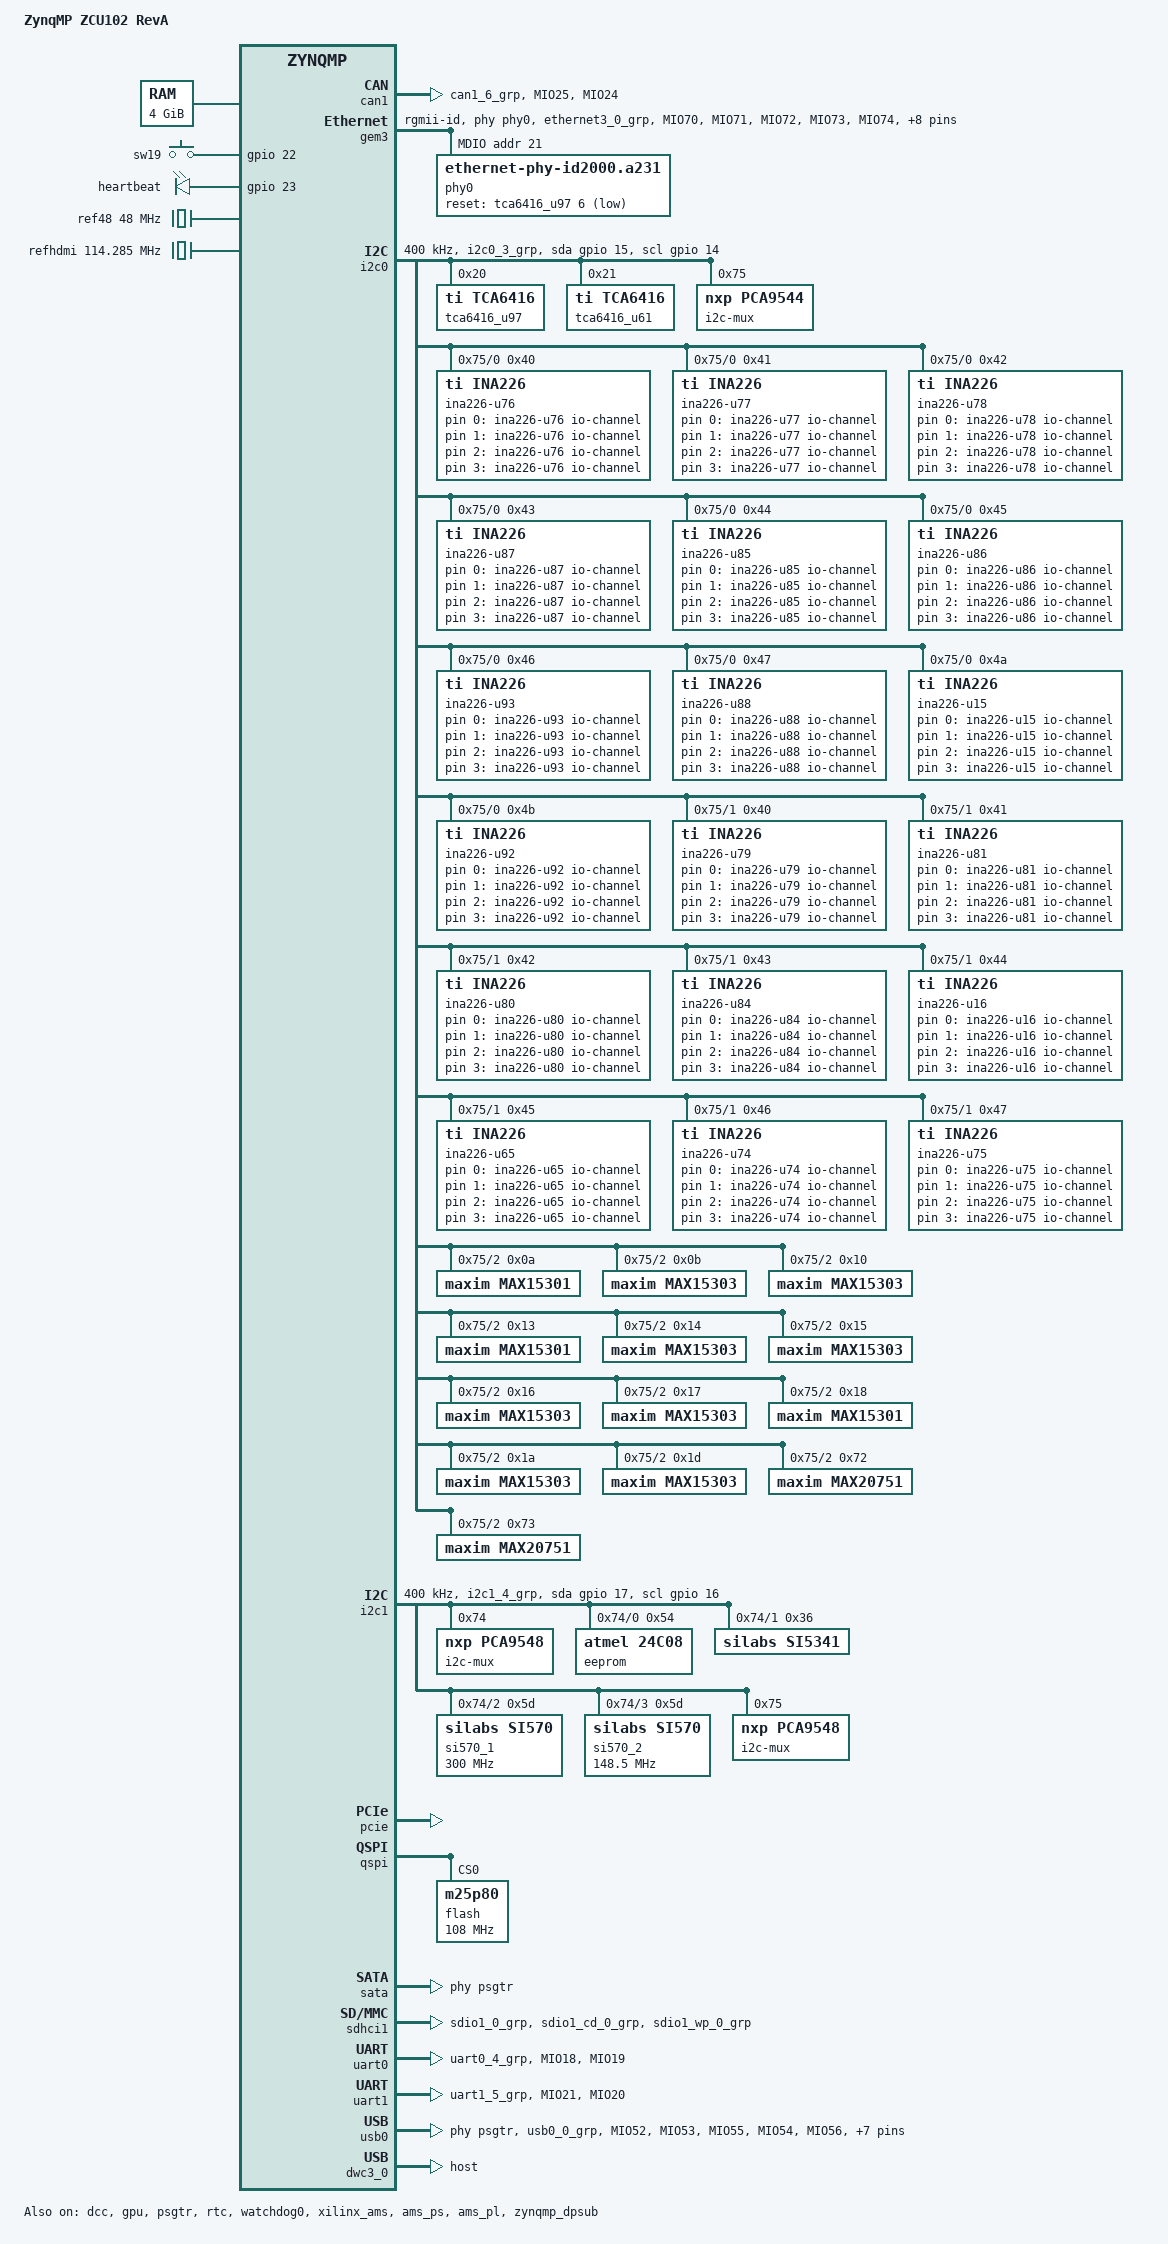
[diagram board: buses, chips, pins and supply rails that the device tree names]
// SPDX-License-Identifier: GPL-2.0+
/*
 * dts file for Xilinx ZynqMP ZCU102 RevA
 *
 * (C) Copyright 2015 - 2022, Xilinx, Inc.
 * (C) Copyright 2022 - 2023, Advanced Micro Devices, Inc.
 *
 * Michal Simek <michal.simek@amd.com>
 */

/dts-v1/;

#include "zynqmp.dtsi"
#include "zynqmp-clk-ccf.dtsi"
#include <dt-bindings/input/input.h>
#include <dt-bindings/gpio/gpio.h>
#include <dt-bindings/pinctrl/pinctrl-zynqmp.h>
#include <dt-bindings/phy/phy.h>

/ {
	model = "ZynqMP ZCU102 RevA";
	compatible = "xlnx,zynqmp-zcu102-revA", "xlnx,zynqmp-zcu102", "xlnx,zynqmp";

	aliases {
		ethernet0 = &gem3;
		i2c0 = &i2c0;
		i2c1 = &i2c1;
		mmc0 = &sdhci1;
		nvmem0 = &eeprom;
		rtc0 = &rtc;
		serial0 = &uart0;
		serial1 = &uart1;
		serial2 = &dcc;
		spi0 = &qspi;
		usb0 = &usb0;
	};

	chosen {
		bootargs = "earlycon";
		stdout-path = "serial0:115200n8";
	};

	memory@0 {
		device_type = "memory";
		reg = <0x0 0x0 0x0 0x80000000>, <0x8 0x00000000 0x0 0x80000000>;
	};

	gpio-keys {
		compatible = "gpio-keys";
		autorepeat;
		switch-19 {
			label = "sw19";
			gpios = <&gpio 22 GPIO_ACTIVE_HIGH>;
			linux,code = <KEY_DOWN>;
			wakeup-source;
			autorepeat;
		};
	};

	leds {
		compatible = "gpio-leds";
		heartbeat-led {
			label = "heartbeat";
			gpios = <&gpio 23 GPIO_ACTIVE_HIGH>;
			linux,default-trigger = "heartbeat";
		};
	};

	ina226-u76 {
		compatible = "iio-hwmon";
		io-channels = <&u76 0>, <&u76 1>, <&u76 2>, <&u76 3>;
	};
	ina226-u77 {
		compatible = "iio-hwmon";
		io-channels = <&u77 0>, <&u77 1>, <&u77 2>, <&u77 3>;
	};
	ina226-u78 {
		compatible = "iio-hwmon";
		io-channels = <&u78 0>, <&u78 1>, <&u78 2>, <&u78 3>;
	};
	ina226-u87 {
		compatible = "iio-hwmon";
		io-channels = <&u87 0>, <&u87 1>, <&u87 2>, <&u87 3>;
	};
	ina226-u85 {
		compatible = "iio-hwmon";
		io-channels = <&u85 0>, <&u85 1>, <&u85 2>, <&u85 3>;
	};
	ina226-u86 {
		compatible = "iio-hwmon";
		io-channels = <&u86 0>, <&u86 1>, <&u86 2>, <&u86 3>;
	};
	ina226-u93 {
		compatible = "iio-hwmon";
		io-channels = <&u93 0>, <&u93 1>, <&u93 2>, <&u93 3>;
	};
	ina226-u88 {
		compatible = "iio-hwmon";
		io-channels = <&u88 0>, <&u88 1>, <&u88 2>, <&u88 3>;
	};
	ina226-u15 {
		compatible = "iio-hwmon";
		io-channels = <&u15 0>, <&u15 1>, <&u15 2>, <&u15 3>;
	};
	ina226-u92 {
		compatible = "iio-hwmon";
		io-channels = <&u92 0>, <&u92 1>, <&u92 2>, <&u92 3>;
	};
	ina226-u79 {
		compatible = "iio-hwmon";
		io-channels = <&u79 0>, <&u79 1>, <&u79 2>, <&u79 3>;
	};
	ina226-u81 {
		compatible = "iio-hwmon";
		io-channels = <&u81 0>, <&u81 1>, <&u81 2>, <&u81 3>;
	};
	ina226-u80 {
		compatible = "iio-hwmon";
		io-channels = <&u80 0>, <&u80 1>, <&u80 2>, <&u80 3>;
	};
	ina226-u84 {
		compatible = "iio-hwmon";
		io-channels = <&u84 0>, <&u84 1>, <&u84 2>, <&u84 3>;
	};
	ina226-u16 {
		compatible = "iio-hwmon";
		io-channels = <&u16 0>, <&u16 1>, <&u16 2>, <&u16 3>;
	};
	ina226-u65 {
		compatible = "iio-hwmon";
		io-channels = <&u65 0>, <&u65 1>, <&u65 2>, <&u65 3>;
	};
	ina226-u74 {
		compatible = "iio-hwmon";
		io-channels = <&u74 0>, <&u74 1>, <&u74 2>, <&u74 3>;
	};
	ina226-u75 {
		compatible = "iio-hwmon";
		io-channels = <&u75 0>, <&u75 1>, <&u75 2>, <&u75 3>;
	};

	/* 48MHz reference crystal */
	ref48: ref48M {
		compatible = "fixed-clock";
		#clock-cells = <0>;
		clock-frequency = <48000000>;
	};

	refhdmi: refhdmi {
		compatible = "fixed-clock";
		#clock-cells = <0>;
		clock-frequency = <114285000>;
	};
};

&can1 {
	status = "okay";
	pinctrl-names = "default";
	pinctrl-0 = <&pinctrl_can1_default>;
};

&dcc {
	status = "okay";
};

&fpd_dma_chan1 {
	status = "okay";
};

&fpd_dma_chan2 {
	status = "okay";
};

&fpd_dma_chan3 {
	status = "okay";
};

&fpd_dma_chan4 {
	status = "okay";
};

&fpd_dma_chan5 {
	status = "okay";
};

&fpd_dma_chan6 {
	status = "okay";
};

&fpd_dma_chan7 {
	status = "okay";
};

&fpd_dma_chan8 {
	status = "okay";
};

&gem3 {
	status = "okay";
	phy-handle = <&phy0>;
	phy-mode = "rgmii-id";
	pinctrl-names = "default";
	pinctrl-0 = <&pinctrl_gem3_default>;
	mdio: mdio {
		#address-cells = <1>;
		#size-cells = <0>;
		phy0: ethernet-phy@21 {
			#phy-cells = <1>;
			compatible = "ethernet-phy-id2000.a231";
			reg = <21>;
			ti,rx-internal-delay = <0x8>;
			ti,tx-internal-delay = <0xa>;
			ti,fifo-depth = <0x1>;
			ti,dp83867-rxctrl-strap-quirk;
			reset-gpios = <&tca6416_u97 6 GPIO_ACTIVE_LOW>;
		};
	};
};

&gpio {
	status = "okay";
	pinctrl-names = "default";
	pinctrl-0 = <&pinctrl_gpio_default>;
};

&gpu {
	status = "okay";
};

&i2c0 {
	status = "okay";
	clock-frequency = <400000>;
	pinctrl-names = "default", "gpio";
	pinctrl-0 = <&pinctrl_i2c0_default>;
	pinctrl-1 = <&pinctrl_i2c0_gpio>;
	scl-gpios = <&gpio 14 (GPIO_ACTIVE_HIGH | GPIO_OPEN_DRAIN)>;
	sda-gpios = <&gpio 15 (GPIO_ACTIVE_HIGH | GPIO_OPEN_DRAIN)>;

	tca6416_u97: gpio@20 {
		compatible = "ti,tca6416";
		reg = <0x20>;
		gpio-controller; /* IRQ not connected */
		#gpio-cells = <2>;
		gpio-line-names = "PS_GTR_LAN_SEL0", "PS_GTR_LAN_SEL1", "PS_GTR_LAN_SEL2", "PS_GTR_LAN_SEL3",
				"PCI_CLK_DIR_SEL", "IIC_MUX_RESET_B", "GEM3_EXP_RESET_B",
				"", "", "", "", "", "", "", "", "";
		gtr-sel0-hog {
			gpio-hog;
			gpios = <0 0>;
			output-low; /* PCIE = 0, DP = 1 */
			line-name = "sel0";
		};
		gtr-sel1-hog {
			gpio-hog;
			gpios = <1 0>;
			output-high; /* PCIE = 0, DP = 1 */
			line-name = "sel1";
		};
		gtr-sel2-hog {
			gpio-hog;
			gpios = <2 0>;
			output-high; /* PCIE = 0, USB0 = 1 */
			line-name = "sel2";
		};
		gtr-sel3-hog {
			gpio-hog;
			gpios = <3 0>;
			output-high; /* PCIE = 0, SATA = 1 */
			line-name = "sel3";
		};
	};

	tca6416_u61: gpio@21 {
		compatible = "ti,tca6416";
		reg = <0x21>;
		gpio-controller; /* IRQ not connected */
		#gpio-cells = <2>;
		gpio-line-names = "VCCPSPLL_EN", "MGTRAVCC_EN", "MGTRAVTT_EN", "VCCPSDDRPLL_EN", "MIO26_PMU_INPUT_LS",
				"PL_PMBUS_ALERT", "PS_PMBUS_ALERT", "MAXIM_PMBUS_ALERT", "PL_DDR4_VTERM_EN",
				"PL_DDR4_VPP_2V5_EN", "PS_DIMM_VDDQ_TO_PSVCCO_ON", "PS_DIMM_SUSPEND_EN",
				"PS_DDR4_VTERM_EN", "PS_DDR4_VPP_2V5_EN", "", "";
	};

	i2c-mux@75 { /* u60 */
		compatible = "nxp,pca9544";
		#address-cells = <1>;
		#size-cells = <0>;
		reg = <0x75>;
		i2c@0 {
			#address-cells = <1>;
			#size-cells = <0>;
			reg = <0>;
			/* PS_PMBUS */
			u76: ina226@40 { /* u76 */
				compatible = "ti,ina226";
				#io-channel-cells = <1>;
				label = "ina226-u76";
				reg = <0x40>;
				shunt-resistor = <5000>;
			};
			u77: ina226@41 { /* u77 */
				compatible = "ti,ina226";
				#io-channel-cells = <1>;
				label = "ina226-u77";
				reg = <0x41>;
				shunt-resistor = <5000>;
			};
			u78: ina226@42 { /* u78 */
				compatible = "ti,ina226";
				#io-channel-cells = <1>;
				label = "ina226-u78";
				reg = <0x42>;
				shunt-resistor = <5000>;
			};
			u87: ina226@43 { /* u87 */
				compatible = "ti,ina226";
				#io-channel-cells = <1>;
				label = "ina226-u87";
				reg = <0x43>;
				shunt-resistor = <5000>;
			};
			u85: ina226@44 { /* u85 */
				compatible = "ti,ina226";
				#io-channel-cells = <1>;
				label = "ina226-u85";
				reg = <0x44>;
				shunt-resistor = <5000>;
			};
			u86: ina226@45 { /* u86 */
				compatible = "ti,ina226";
				#io-channel-cells = <1>;
				label = "ina226-u86";
				reg = <0x45>;
				shunt-resistor = <5000>;
			};
			u93: ina226@46 { /* u93 */
				compatible = "ti,ina226";
				#io-channel-cells = <1>;
				label = "ina226-u93";
				reg = <0x46>;
				shunt-resistor = <5000>;
			};
			u88: ina226@47 { /* u88 */
				compatible = "ti,ina226";
				#io-channel-cells = <1>;
				label = "ina226-u88";
				reg = <0x47>;
				shunt-resistor = <5000>;
			};
			u15: ina226@4a { /* u15 */
				compatible = "ti,ina226";
				#io-channel-cells = <1>;
				label = "ina226-u15";
				reg = <0x4a>;
				shunt-resistor = <5000>;
			};
			u92: ina226@4b { /* u92 */
				compatible = "ti,ina226";
				#io-channel-cells = <1>;
				label = "ina226-u92";
				reg = <0x4b>;
				shunt-resistor = <5000>;
			};
		};
		i2c@1 {
			#address-cells = <1>;
			#size-cells = <0>;
			reg = <1>;
			/* PL_PMBUS */
			u79: ina226@40 { /* u79 */
				compatible = "ti,ina226";
				#io-channel-cells = <1>;
				label = "ina226-u79";
				reg = <0x40>;
				shunt-resistor = <2000>;
			};
			u81: ina226@41 { /* u81 */
				compatible = "ti,ina226";
				#io-channel-cells = <1>;
				label = "ina226-u81";
				reg = <0x41>;
				shunt-resistor = <5000>;
			};
			u80: ina226@42 { /* u80 */
				compatible = "ti,ina226";
				#io-channel-cells = <1>;
				label = "ina226-u80";
				reg = <0x42>;
				shunt-resistor = <5000>;
			};
			u84: ina226@43 { /* u84 */
				compatible = "ti,ina226";
				#io-channel-cells = <1>;
				label = "ina226-u84";
				reg = <0x43>;
				shunt-resistor = <5000>;
			};
			u16: ina226@44 { /* u16 */
				compatible = "ti,ina226";
				#io-channel-cells = <1>;
				label = "ina226-u16";
				reg = <0x44>;
				shunt-resistor = <5000>;
			};
			u65: ina226@45 { /* u65 */
				compatible = "ti,ina226";
				#io-channel-cells = <1>;
				label = "ina226-u65";
				reg = <0x45>;
				shunt-resistor = <5000>;
			};
			u74: ina226@46 { /* u74 */
				compatible = "ti,ina226";
				#io-channel-cells = <1>;
				label = "ina226-u74";
				reg = <0x46>;
				shunt-resistor = <5000>;
			};
			u75: ina226@47 { /* u75 */
				compatible = "ti,ina226";
				#io-channel-cells = <1>;
				label = "ina226-u75";
				reg = <0x47>;
				shunt-resistor = <5000>;
			};
		};
		i2c@2 {
			#address-cells = <1>;
			#size-cells = <0>;
			reg = <2>;
			/* MAXIM_PMBUS - 00 */
			max15301@a { /* u46 */
				compatible = "maxim,max15301";
				reg = <0xa>;
			};
			max15303@b { /* u4 */
				compatible = "maxim,max15303";
				reg = <0xb>;
			};
			max15303@10 { /* u13 */
				compatible = "maxim,max15303";
				reg = <0x10>;
			};
			max15301@13 { /* u47 */
				compatible = "maxim,max15301";
				reg = <0x13>;
			};
			max15303@14 { /* u7 */
				compatible = "maxim,max15303";
				reg = <0x14>;
			};
			max15303@15 { /* u6 */
				compatible = "maxim,max15303";
				reg = <0x15>;
			};
			max15303@16 { /* u10 */
				compatible = "maxim,max15303";
				reg = <0x16>;
			};
			max15303@17 { /* u9 */
				compatible = "maxim,max15303";
				reg = <0x17>;
			};
			max15301@18 { /* u63 */
				compatible = "maxim,max15301";
				reg = <0x18>;
			};
			max15303@1a { /* u49 */
				compatible = "maxim,max15303";
				reg = <0x1a>;
			};
			max15303@1d { /* u18 */
				compatible = "maxim,max15303";
				reg = <0x1d>;
			};
			max15303@20 { /* u8 */
				compatible = "maxim,max15303";
				status = "disabled"; /* unreachable */
				reg = <0x20>;
			};
			max20751@72 { /* u95 */
				compatible = "maxim,max20751";
				reg = <0x72>;
			};
			max20751@73 { /* u96 */
				compatible = "maxim,max20751";
				reg = <0x73>;
			};
		};
		/* Bus 3 is not connected */
	};
};

&i2c1 {
	status = "okay";
	clock-frequency = <400000>;
	pinctrl-names = "default", "gpio";
	pinctrl-0 = <&pinctrl_i2c1_default>;
	pinctrl-1 = <&pinctrl_i2c1_gpio>;
	scl-gpios = <&gpio 16 (GPIO_ACTIVE_HIGH | GPIO_OPEN_DRAIN)>;
	sda-gpios = <&gpio 17 (GPIO_ACTIVE_HIGH | GPIO_OPEN_DRAIN)>;

	/* PL i2c via PCA9306 - u45 */
	i2c-mux@74 { /* u34 */
		compatible = "nxp,pca9548";
		#address-cells = <1>;
		#size-cells = <0>;
		reg = <0x74>;
		i2c@0 {
			#address-cells = <1>;
			#size-cells = <0>;
			reg = <0>;
			/*
			 * IIC_EEPROM 1kB memory which uses 256B blocks
			 * where every block has different address.
			 *    0 - 256B address 0x54
			 * 256B - 512B address 0x55
			 * 512B - 768B address 0x56
			 * 768B - 1024B address 0x57
			 */
			eeprom: eeprom@54 { /* u23 */
				compatible = "atmel,24c08";
				reg = <0x54>;
			};
		};
		i2c@1 {
			#address-cells = <1>;
			#size-cells = <0>;
			reg = <1>;
			si5341: clock-generator@36 { /* SI5341 - u69 */
				compatible = "silabs,si5341";
				reg = <0x36>;
				#clock-cells = <2>;
				#address-cells = <1>;
				#size-cells = <0>;
				clocks = <&ref48>;
				clock-names = "xtal";
				clock-output-names = "si5341";

				si5341_0: out@0 {
					/* refclk0 for PS-GT, used for DP */
					reg = <0>;
					always-on;
				};
				si5341_2: out@2 {
					/* refclk2 for PS-GT, used for USB3 */
					reg = <2>;
					always-on;
				};
				si5341_3: out@3 {
					/* refclk3 for PS-GT, used for SATA */
					reg = <3>;
					always-on;
				};
				si5341_4: out@4 {
					/* refclk4 for PS-GT, used for PCIE slot */
					reg = <4>;
					always-on;
				};
				si5341_5: out@5 {
					/* refclk5 for PS-GT, used for PCIE */
					reg = <5>;
					always-on;
				};
				si5341_6: out@6 {
					/* refclk6 PL CLK125 */
					reg = <6>;
					always-on;
				};
				si5341_7: out@7 {
					/* refclk7 PL CLK74 */
					reg = <7>;
					always-on;
				};
				si5341_9: out@9 {
					/* refclk9 used for PS_REF_CLK 33.3 MHz */
					reg = <9>;
					always-on;
				};
			};
		};
		i2c@2 {
			#address-cells = <1>;
			#size-cells = <0>;
			reg = <2>;
			si570_1: clock-generator@5d { /* USER SI570 - u42 */
				#clock-cells = <0>;
				compatible = "silabs,si570";
				reg = <0x5d>;
				temperature-stability = <50>;
				factory-fout = <300000000>;
				clock-frequency = <300000000>;
				clock-output-names = "si570_user";
			};
		};
		i2c@3 {
			#address-cells = <1>;
			#size-cells = <0>;
			reg = <3>;
			si570_2: clock-generator@5d { /* USER MGT SI570 - u56 */
				#clock-cells = <0>;
				compatible = "silabs,si570";
				reg = <0x5d>;
				temperature-stability = <50>; /* copy from zc702 */
				factory-fout = <156250000>;
				clock-frequency = <148500000>;
				clock-output-names = "si570_mgt";
			};
		};
		i2c@4 {
			#address-cells = <1>;
			#size-cells = <0>;
			reg = <4>;
			/* SI5328 - u20 */
		};
		/* 5 - 7 unconnected */
	};

	i2c-mux@75 {
		compatible = "nxp,pca9548"; /* u135 */
		#address-cells = <1>;
		#size-cells = <0>;
		reg = <0x75>;

		i2c@0 {
			#address-cells = <1>;
			#size-cells = <0>;
			reg = <0>;
			/* HPC0_IIC */
		};
		i2c@1 {
			#address-cells = <1>;
			#size-cells = <0>;
			reg = <1>;
			/* HPC1_IIC */
		};
		i2c@2 {
			#address-cells = <1>;
			#size-cells = <0>;
			reg = <2>;
			/* SYSMON */
		};
		i2c@3 {
			#address-cells = <1>;
			#size-cells = <0>;
			reg = <3>;
			/* DDR4 SODIMM */
		};
		i2c@4 {
			#address-cells = <1>;
			#size-cells = <0>;
			reg = <4>;
			/* SEP 3 */
		};
		i2c@5 {
			#address-cells = <1>;
			#size-cells = <0>;
			reg = <5>;
			/* SEP 2 */
		};
		i2c@6 {
			#address-cells = <1>;
			#size-cells = <0>;
			reg = <6>;
			/* SEP 1 */
		};
		i2c@7 {
			#address-cells = <1>;
			#size-cells = <0>;
			reg = <7>;
			/* SEP 0 */
		};
	};
};

&pinctrl0 {
	status = "okay";
	pinctrl_i2c0_default: i2c0-default {
		mux {
			groups = "i2c0_3_grp";
			function = "i2c0";
		};

		conf {
			groups = "i2c0_3_grp";
			bias-pull-up;
			slew-rate = <SLEW_RATE_SLOW>;
			power-source = <IO_STANDARD_LVCMOS18>;
		};
	};

	pinctrl_i2c0_gpio: i2c0-gpio {
		mux {
			groups = "gpio0_14_grp", "gpio0_15_grp";
			function = "gpio0";
		};

		conf {
			groups = "gpio0_14_grp", "gpio0_15_grp";
			slew-rate = <SLEW_RATE_SLOW>;
			power-source = <IO_STANDARD_LVCMOS18>;
		};
	};

	pinctrl_i2c1_default: i2c1-default {
		mux {
			groups = "i2c1_4_grp";
			function = "i2c1";
		};

		conf {
			groups = "i2c1_4_grp";
			bias-pull-up;
			slew-rate = <SLEW_RATE_SLOW>;
			power-source = <IO_STANDARD_LVCMOS18>;
		};
	};

	pinctrl_i2c1_gpio: i2c1-gpio {
		mux {
			groups = "gpio0_16_grp", "gpio0_17_grp";
			function = "gpio0";
		};

		conf {
			groups = "gpio0_16_grp", "gpio0_17_grp";
			slew-rate = <SLEW_RATE_SLOW>;
			power-source = <IO_STANDARD_LVCMOS18>;
		};
	};

	pinctrl_uart0_default: uart0-default {
		mux {
			groups = "uart0_4_grp";
			function = "uart0";
		};

		conf {
			groups = "uart0_4_grp";
			slew-rate = <SLEW_RATE_SLOW>;
			power-source = <IO_STANDARD_LVCMOS18>;
		};

		conf-rx {
			pins = "MIO18";
			bias-high-impedance;
		};

		conf-tx {
			pins = "MIO19";
			bias-disable;
		};
	};

	pinctrl_uart1_default: uart1-default {
		mux {
			groups = "uart1_5_grp";
			function = "uart1";
		};

		conf {
			groups = "uart1_5_grp";
			slew-rate = <SLEW_RATE_SLOW>;
			power-source = <IO_STANDARD_LVCMOS18>;
		};

		conf-rx {
			pins = "MIO21";
			bias-high-impedance;
		};

		conf-tx {
			pins = "MIO20";
			bias-disable;
		};
	};

	pinctrl_usb0_default: usb0-default {
		mux {
			groups = "usb0_0_grp";
			function = "usb0";
		};

		conf {
			groups = "usb0_0_grp";
			power-source = <IO_STANDARD_LVCMOS18>;
		};

		conf-rx {
			pins = "MIO52", "MIO53", "MIO55";
			bias-high-impedance;
			drive-strength = <12>;
			slew-rate = <SLEW_RATE_FAST>;
		};

		conf-tx {
			pins = "MIO54", "MIO56", "MIO57", "MIO58", "MIO59",
			       "MIO60", "MIO61", "MIO62", "MIO63";
			bias-disable;
			drive-strength = <4>;
			slew-rate = <SLEW_RATE_SLOW>;
		};
	};

	pinctrl_gem3_default: gem3-default {
		mux {
			function = "ethernet3";
			groups = "ethernet3_0_grp";
		};

		conf {
			groups = "ethernet3_0_grp";
			slew-rate = <SLEW_RATE_SLOW>;
			power-source = <IO_STANDARD_LVCMOS18>;
		};

		conf-rx {
			pins = "MIO70", "MIO71", "MIO72", "MIO73", "MIO74",
									"MIO75";
			bias-high-impedance;
			low-power-disable;
		};

		conf-tx {
			pins = "MIO64", "MIO65", "MIO66", "MIO67", "MIO68",
									"MIO69";
			bias-disable;
			low-power-enable;
		};

		mux-mdio {
			function = "mdio3";
			groups = "mdio3_0_grp";
		};

		conf-mdio {
			groups = "mdio3_0_grp";
			slew-rate = <SLEW_RATE_SLOW>;
			power-source = <IO_STANDARD_LVCMOS18>;
			bias-disable;
		};
	};

	pinctrl_can1_default: can1-default {
		mux {
			function = "can1";
			groups = "can1_6_grp";
		};

		conf {
			groups = "can1_6_grp";
			slew-rate = <SLEW_RATE_SLOW>;
			power-source = <IO_STANDARD_LVCMOS18>;
		};

		conf-rx {
			pins = "MIO25";
			bias-high-impedance;
		};

		conf-tx {
			pins = "MIO24";
			bias-disable;
		};
	};

	pinctrl_sdhci1_default: sdhci1-default {
		mux {
			groups = "sdio1_0_grp";
			function = "sdio1";
		};

		conf {
			groups = "sdio1_0_grp";
			slew-rate = <SLEW_RATE_SLOW>;
			power-source = <IO_STANDARD_LVCMOS18>;
			bias-disable;
		};

		mux-cd {
			groups = "sdio1_cd_0_grp";
			function = "sdio1_cd";
		};

		conf-cd {
			groups = "sdio1_cd_0_grp";
			bias-high-impedance;
			bias-pull-up;
			slew-rate = <SLEW_RATE_SLOW>;
			power-source = <IO_STANDARD_LVCMOS18>;
		};

		mux-wp {
			groups = "sdio1_wp_0_grp";
			function = "sdio1_wp";
		};

		conf-wp {
			groups = "sdio1_wp_0_grp";
			bias-high-impedance;
			bias-pull-up;
			slew-rate = <SLEW_RATE_SLOW>;
			power-source = <IO_STANDARD_LVCMOS18>;
		};
	};

	pinctrl_gpio_default: gpio-default {
		mux-sw {
			function = "gpio0";
			groups = "gpio0_22_grp", "gpio0_23_grp";
		};

		conf-sw {
			groups = "gpio0_22_grp", "gpio0_23_grp";
			slew-rate = <SLEW_RATE_SLOW>;
			power-source = <IO_STANDARD_LVCMOS18>;
		};

		mux-msp {
			function = "gpio0";
			groups = "gpio0_13_grp", "gpio0_38_grp";
		};

		conf-msp {
			groups = "gpio0_13_grp", "gpio0_38_grp";
			slew-rate = <SLEW_RATE_SLOW>;
			power-source = <IO_STANDARD_LVCMOS18>;
		};

		conf-pull-up {
			pins = "MIO22", "MIO23";
			bias-pull-up;
		};

		conf-pull-none {
			pins = "MIO13", "MIO38";
			bias-disable;
		};
	};
};

&pcie {
	status = "okay";
};

&psgtr {
	status = "okay";
	/* pcie, sata, usb3, dp */
	clocks = <&si5341 0 5>, <&si5341 0 3>, <&si5341 0 2>, <&si5341 0 0>;
	clock-names = "ref0", "ref1", "ref2", "ref3";
};

&qspi {
	status = "okay";
	flash@0 {
		compatible = "m25p80", "jedec,spi-nor"; /* 16MB + 16MB */
		#address-cells = <1>;
		#size-cells = <1>;
		reg = <0x0>;
		spi-tx-bus-width = <4>;
		spi-rx-bus-width = <4>; /* FIXME also DUAL configuration possible */
		spi-max-frequency = <108000000>; /* Based on DC1 spec */
	};
};

&rtc {
	status = "okay";
};

&sata {
	status = "okay";
	/* SATA OOB timing settings */
	ceva,p0-cominit-params = /bits/ 8 <0x18 0x40 0x18 0x28>;
	ceva,p0-comwake-params = /bits/ 8 <0x06 0x14 0x08 0x0E>;
	ceva,p0-burst-params = /bits/ 8 <0x13 0x08 0x4A 0x06>;
	ceva,p0-retry-params = /bits/ 16 <0x96A4 0x3FFC>;
	ceva,p1-cominit-params = /bits/ 8 <0x18 0x40 0x18 0x28>;
	ceva,p1-comwake-params = /bits/ 8 <0x06 0x14 0x08 0x0E>;
	ceva,p1-burst-params = /bits/ 8 <0x13 0x08 0x4A 0x06>;
	ceva,p1-retry-params = /bits/ 16 <0x96A4 0x3FFC>;
	phy-names = "sata-phy";
	phys = <&psgtr 3 PHY_TYPE_SATA 1 1>;
};

/* SD1 with level shifter */
&sdhci1 {
	status = "okay";
	/*
	 * 1.0 revision has level shifter and this property should be
	 * removed for supporting UHS mode
	 */
	no-1-8-v;
	pinctrl-names = "default";
	pinctrl-0 = <&pinctrl_sdhci1_default>;
	xlnx,mio-bank = <1>;
};

&uart0 {
	status = "okay";
	pinctrl-names = "default";
	pinctrl-0 = <&pinctrl_uart0_default>;
};

&uart1 {
	status = "okay";
	pinctrl-names = "default";
	pinctrl-0 = <&pinctrl_uart1_default>;
};

/* ULPI SMSC USB3320 */
&usb0 {
	status = "okay";
	pinctrl-names = "default";
	pinctrl-0 = <&pinctrl_usb0_default>;
	phy-names = "usb3-phy";
	phys = <&psgtr 2 PHY_TYPE_USB3 0 2>;
};

&dwc3_0 {
	status = "okay";
	dr_mode = "host";
	snps,usb3_lpm_capable;
	maximum-speed = "super-speed";
};

&watchdog0 {
	status = "okay";
};

&xilinx_ams {
	status = "okay";
};

&ams_ps {
	status = "okay";
};

&ams_pl {
	status = "okay";
};

&zynqmp_dpdma {
	status = "okay";
};

&zynqmp_dpsub {
	status = "okay";
	phy-names = "dp-phy0";
	phys = <&psgtr 1 PHY_TYPE_DP 0 3>;
};
